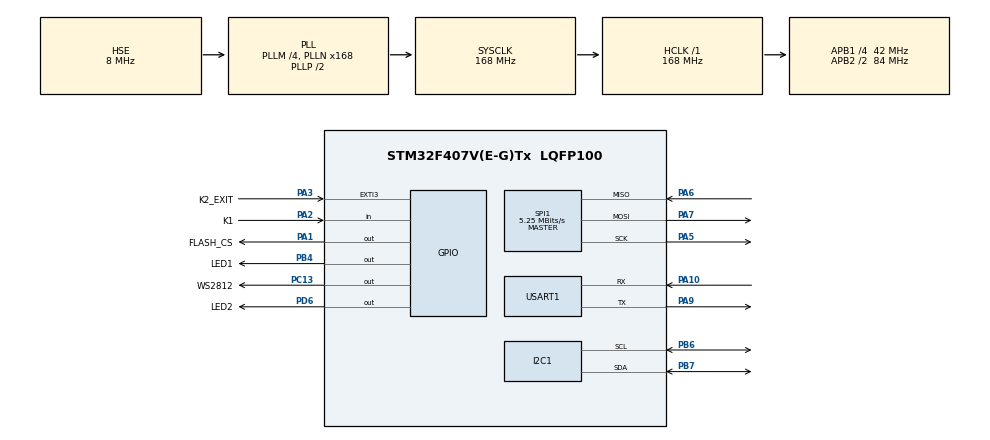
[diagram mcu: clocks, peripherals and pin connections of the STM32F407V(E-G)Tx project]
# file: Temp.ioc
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Mcu.Family=STM32F4
Mcu.Name=STM32F407V(E-G)Tx
Mcu.Package=LQFP100
NVIC.EXTI3_IRQn=true\:0\:0\:false\:false\:true\:true\:true\:true
NVIC.PriorityGroup=NVIC_PRIORITYGROUP_4
NVIC.USART1_IRQn=true\:0\:0\:false\:false\:true\:true\:true\:true
PA1.GPIO_Label=FLASH_CS
PA1.GPIO_PuPd=GPIO_PULLUP
PA1.GPIO_Speed=GPIO_SPEED_FREQ_HIGH
PA1.PinState=GPIO_PIN_SET
PA1.Signal=GPIO_Output
PA10.Mode=Asynchronous
PA10.Signal=USART1_RX
PA13.Mode=Serial_Wire
PA13.Signal=SYS_JTMS-SWDIO
PA14.Mode=Serial_Wire
PA14.Signal=SYS_JTCK-SWCLK
PA2.GPIO_Label=K1
PA2.GPIO_Mode=GPIO_MODE_INPUT
PA2.Signal=GPIO_Input
PA3.GPIO_Label=K2_EXIT
PA3.GPIO_ModeDefaultEXTI=GPIO_MODE_IT_FALLING
PA3.Signal=GPXTI3
PA5.Mode=Full_Duplex_Master
PA5.Signal=SPI1_SCK
PA6.Mode=Full_Duplex_Master
PA6.Signal=SPI1_MISO
PA7.Mode=Full_Duplex_Master
PA7.Signal=SPI1_MOSI
PA9.Mode=Asynchronous
PA9.Signal=USART1_TX
PB4.GPIO_Label=LED1
PB4.GPIO_ModeDefaultOutputPP=GPIO_MODE_OUTPUT_PP
PB4.GPIO_PuPd=GPIO_PULLUP
PB4.GPIO_Speed=GPIO_SPEED_FREQ_HIGH
PB4.PinState=GPIO_PIN_SET
PB4.Signal=GPIO_Output
PB6.Mode=I2C
PB6.Signal=I2C1_SCL
PB7.Mode=I2C
PB7.Signal=I2C1_SDA
PC13-ANTI_TAMP.GPIO_Label=WS2812
PC13-ANTI_TAMP.GPIO_PuPd=GPIO_PULLUP
PC13-ANTI_TAMP.GPIO_Speed=GPIO_SPEED_FREQ_LOW
PC13-ANTI_TAMP.PinState=GPIO_PIN_SET
PC13-ANTI_TAMP.Signal=GPIO_Output
PC14-OSC32_IN.Mode=LSE-External-Oscillator
PC14-OSC32_IN.Signal=RCC_OSC32_IN
PC15-OSC32_OUT.Mode=LSE-External-Oscillator
PC15-OSC32_OUT.Signal=RCC_OSC32_OUT
PD6.GPIO_Label=LED2
PD6.GPIO_ModeDefaultOutputPP=GPIO_MODE_OUTPUT_PP
PD6.GPIO_PuPd=GPIO_PULLUP
PD6.GPIO_Speed=GPIO_SPEED_FREQ_HIGH
PD6.PinState=GPIO_PIN_SET
PD6.Signal=GPIO_Output
PH0-OSC_IN.Mode=HSE-External-Oscillator
PH0-OSC_IN.Signal=RCC_OSC_IN
PH1-OSC_OUT.Mode=HSE-External-Oscillator
PH1-OSC_OUT.Signal=RCC_OSC_OUT
ProjectManager.HeapSize=0x200
ProjectManager.StackSize=0x400
ProjectManager.TargetToolchain=MDK-ARM V5.32
RCC.48MHZClocksFreq_Value=84000000
RCC.AHBFreq_Value=168000000
RCC.APB1CLKDivider=RCC_HCLK_DIV4
RCC.APB1Freq_Value=42000000
RCC.APB1TimFreq_Value=84000000
RCC.APB2CLKDivider=RCC_HCLK_DIV2
RCC.APB2Freq_Value=84000000
RCC.APB2TimFreq_Value=168000000
RCC.CortexFreq_Value=168000000
RCC.HCLKFreq_Value=168000000
RCC.HSE_VALUE=8000000
RCC.HSI_VALUE=16000000
RCC.PLLM=4
RCC.PLLN=168
RCC.PLLSourceVirtual=RCC_PLLSOURCE_HSE
RCC.RCC_MCO1Source=RCC_MCO1SOURCE_HSE
RCC.RCC_MCODiv2=RCC_MCODIV_5
RCC.SYSCLKFreq_VALUE=168000000
RCC.SYSCLKSource=RCC_SYSCLKSOURCE_PLLCLK
RCC.VCOOutputFreq_Value=336000000
SPI1.BaudRatePrescaler=SPI_BAUDRATEPRESCALER_16
SPI1.CalculateBaudRate=5.25 MBits/s
SPI1.Direction=SPI_DIRECTION_2LINES
SPI1.Mode=SPI_MODE_MASTER
SPI1.VirtualType=VM_MASTER
USART1.VirtualMode=VM_ASYNC
board=custom

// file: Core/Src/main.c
/* USER CODE BEGIN Header */
/**
  ******************************************************************************
  * @file           : main.c
  * @brief          : Main program body
  ******************************************************************************
  * @attention
  *
  * Copyright (c) 2025 STMicroelectronics.
  * All rights reserved.
  *
  * This software is licensed under terms that can be found in the LICENSE file
  * in the root directory of this software component.
  * If no LICENSE file comes with this software, it is provided AS-IS.
  *
  ******************************************************************************
  */
/* USER CODE END Header */
#include "main.h"
#include "i2c.h"
#include "spi.h"
#include "usart.h"
#include "gpio.h"

/* USER CODE BEGIN Includes */
#include "stdio.h"//printf函数�?
//添加头文件支持
#include "string.h"
#include "bsp_spi_flash.h"//SPI flash驱动
/* USER CODE END Includes */

/* USER CODE BEGIN PTD */
uint8_t rx_buff[100];  //接收缓存
uint8_t rx_done = 0; //接收完成标志
uint8_t rx_cnt = 0;//接收数据长度

//IIC全局变量
#define ADDR_WR_AT24CXX 0xA0 //写器件地�?
#define ADDR_RD_AT24CXX 0xA1 //读器件地�?
#define BuffSize 256
uint8_t Wr_buff[BuffSize],Rd_buff[BuffSize];//读写数据buff
/* USER CODE END PTD */

/* USER CODE BEGIN PD */
//EEPROM测试
void E2PROM_I2C_Test(void)
{
    HAL_StatusTypeDef error;
    uint8_t length = 8 ;
    for(uint16_t i = 0;i<256;i++) Wr_buff[i] = i;
    //AT24Cxx地址00�?始写�?8Byte数据
    error = HAL_I2C_Mem_Write(&hi2c1,ADDR_WR_AT24CXX,0x00,I2C_MEMADD_SIZE_16BIT,Wr_buff,length,1000);
    if(error == HAL_OK) printf("e2prom write done!\r\n");
    else                printf("e2prom write fail!\r\n");
    HAL_Delay(1000);
    //从地�?0x00�?始读8Byte数据，并打印�?
    error = HAL_I2C_Mem_Read(&hi2c1,ADDR_RD_AT24CXX,0x00,I2C_MEMADD_SIZE_16BIT,Rd_buff,length,1000);
    if(error == HAL_OK)
    {
        printf("e2prom read done!\r\n");
        for(uint16_t i=0;i<length;i++)
        {
            printf("0x%02x ",Rd_buff[i]);
        }
        printf("\r\n");
    }
    else  printf("e2prom write fail!\r\n");
}
void spi_flash_test(void)
{
  /* 测试Flash驱动 */
  uint16_t manu_id, dev_id;
  uint8_t jedec_id[3];
  uint8_t write_buf[256] = {0xAA, 0xBB, 0xCC, 0xDD};
  uint8_t read_buf[256];

  Flash_ReadID(&manu_id, &dev_id);
  printf("Flash Manufacturer ID: 0x%04X\r\n", manu_id);
  printf("Flash Device ID: 0x%04X\r\n", dev_id);
  Flash_ReadJedecID(jedec_id);
  printf("Flash JEDEC ID: 0x%02X, 0x%02X, 0x%02X\r\n", jedec_id[0], jedec_id[1], jedec_id[2]);

  if (Flash_SectorErase(0x0000) == HAL_OK) {
    Flash_PageProgram(0x0000, write_buf, 4);
    Flash_ReadData(0x0000, read_buf, 4);
  }
  printf("Flash Write Data: 0x%02X, 0x%02X, 0x%02X, 0x%02X\r\n", write_buf[0], write_buf[1], write_buf[2], write_buf[3]);
  printf("Flash Read  Data: 0x%02X, 0x%02X, 0x%02X, 0x%02X\r\n", read_buf[0], read_buf[1], read_buf[2], read_buf[3]);
  // 验证数据
  if (memcmp(write_buf, read_buf, 4) == 0) {
    printf("\r\nSPI Flash Test Passed!\r\n");
  }
}
/* USER CODE END PD */

/* USER CODE BEGIN PV */
SPI_HandleTypeDef *hspi_flash = &hspi1; // 必须定义
/* USER CODE END PV */

void SystemClock_Config(void);

int main(void)
{

  /* MCU Configuration--------------------------------------------------------*/

  /* Reset of all peripherals, Initializes the Flash interface and the Systick. */
  HAL_Init();

  /* Configure the system clock */
  SystemClock_Config();

  /* Initialize all configured peripherals */
  MX_GPIO_Init();
  MX_USART1_UART_Init();
  MX_I2C1_Init();
  MX_SPI1_Init();
  /* USER CODE BEGIN 2 */
	//E2PROM_I2C_Test();
	spi_flash_test();
  /* USER CODE END 2 */

  /* Infinite loop */
  while (1)
  {

    /* USER CODE BEGIN 3 */
    if(rx_done == 1)//判读是否接收完成
    {
        rx_done = 0;//清除接收标志
        //数据处理，打印接收长度�?�接收的数据
        printf("length of rx data: %d!\r\n",rx_cnt);
        for(int i = 0;i<rx_cnt;i++) printf("%c",rx_buff[i]);
        printf("\r\n");

        rx_cnt =0;//清除接收长度
    }
    HAL_GPIO_TogglePin(LED1_GPIO_Port, LED1_Pin); // 切换亮�?�灭状�?�，添加此语句防止优�?
  }
  /* USER CODE END 3 */
}

void SystemClock_Config(void)
{
  RCC_OscInitTypeDef RCC_OscInitStruct = {0};
  RCC_ClkInitTypeDef RCC_ClkInitStruct = {0};

  /** Configure the main internal regulator output voltage
  */
  __HAL_RCC_PWR_CLK_ENABLE();
  __HAL_PWR_VOLTAGESCALING_CONFIG(PWR_REGULATOR_VOLTAGE_SCALE1);

  /** Initializes the RCC Oscillators according to the specified parameters
  * in the RCC_OscInitTypeDef structure.
  */
  RCC_OscInitStruct.OscillatorType = RCC_OSCILLATORTYPE_HSE;
  RCC_OscInitStruct.HSEState = RCC_HSE_ON;
  RCC_OscInitStruct.PLL.PLLState = RCC_PLL_ON;
  RCC_OscInitStruct.PLL.PLLSource = RCC_PLLSOURCE_HSE;
  RCC_OscInitStruct.PLL.PLLM = 4;
  RCC_OscInitStruct.PLL.PLLN = 168;
  RCC_OscInitStruct.PLL.PLLP = RCC_PLLP_DIV2;
  RCC_OscInitStruct.PLL.PLLQ = 4;
  if (HAL_RCC_OscConfig(&RCC_OscInitStruct) != HAL_OK)
  {
    Error_Handler();
  }

  /** Initializes the CPU, AHB and APB buses clocks
  */
  RCC_ClkInitStruct.ClockType = RCC_CLOCKTYPE_HCLK|RCC_CLOCKTYPE_SYSCLK
                              |RCC_CLOCKTYPE_PCLK1|RCC_CLOCKTYPE_PCLK2;
  RCC_ClkInitStruct.SYSCLKSource = RCC_SYSCLKSOURCE_PLLCLK;
  RCC_ClkInitStruct.AHBCLKDivider = RCC_SYSCLK_DIV1;
  RCC_ClkInitStruct.APB1CLKDivider = RCC_HCLK_DIV4;
  RCC_ClkInitStruct.APB2CLKDivider = RCC_HCLK_DIV2;

  if (HAL_RCC_ClockConfig(&RCC_ClkInitStruct, FLASH_LATENCY_5) != HAL_OK)
  {
    Error_Handler();
  }
}

/* USER CODE BEGIN 4 */
#ifdef __GNUC__
#define PUTCHAR_PROTOTYPE int __io_putchar(int ch)
#else
#define PUTCHAR_PROTOTYPE int fputc(int ch,FILE *f)
#endif /* __GNUC__ */
//重定向printf函数
PUTCHAR_PROTOTYPE
{
    HAL_UART_Transmit(&huart1,(uint8_t *)&ch,1,HAL_MAX_DELAY);//输出指向串口USART1
    return ch;
}
//重写GPIO中断处理函数
void HAL_GPIO_EXTI_Callback(uint16_t GPIO_Pin)
{
    //翻转LED1
    HAL_GPIO_TogglePin(LED1_GPIO_Port,LED1_Pin);
    //打印中断处理信息
    printf("K2 ExTi interrput!\r\n");
}
/* USER CODE END 4 */

void Error_Handler(void)
{
  __disable_irq();
  while (1)
  {
  }
}
